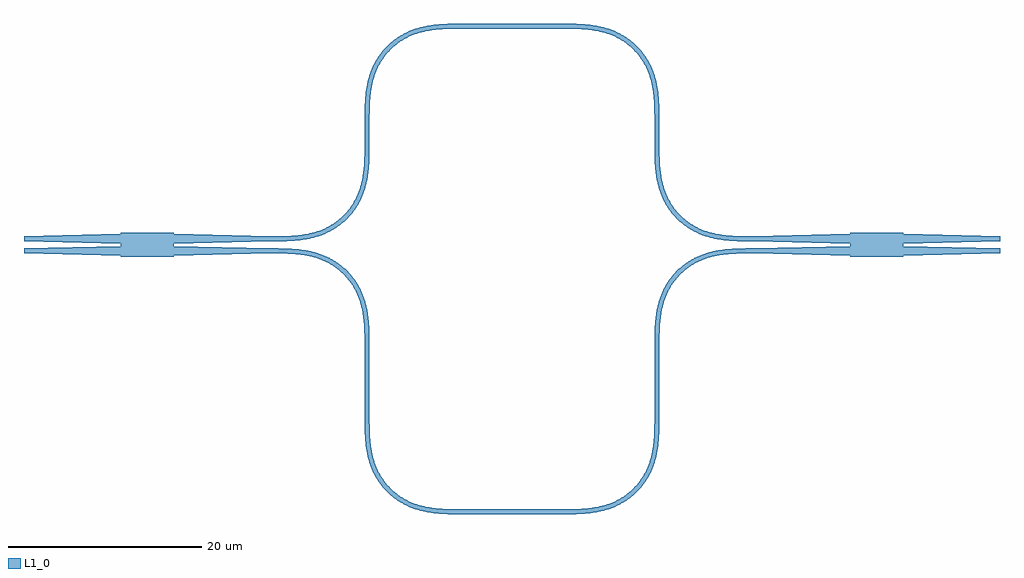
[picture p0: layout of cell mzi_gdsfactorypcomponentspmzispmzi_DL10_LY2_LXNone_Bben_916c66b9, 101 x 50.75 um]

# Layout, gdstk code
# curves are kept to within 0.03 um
from math import pi, radians
import gdstk
lib = gdstk.Library(unit=1e-6, precision=1e-09)
def R(c, l, rs):  # rectangles x0, y0, x1, y1
    for r in rs: c.add(gdstk.rectangle(r[:2], r[2:], *l))
def P(c, l, *ps):  # polygons
    for p in ps: c.add(gdstk.Polygon(p, *l))
L1_0 = (1, 0)

mmi2x2_gdsfactorypcompon = lib.new_cell('mmi2x2_gdsfactorypcomponentspmmispmmi2x2_WNone_WT1_LT10_d84946bc')
P(mmi2x2_gdsfactorypcompon, L1_0, [(0,-1.25),(0,-1.125),(-10,-0.875),(-10,-0.375),(0,-0.125),(0,0.125),(-10,0.375),(-10,0.875),(0,1.125),(0,1.25),(5.5,1.25),(5.5,1.125),(15.5,0.875),(15.5,0.375),(5.5,0.125),(5.5,-0.125),(15.5,-0.375),(15.5,-0.875),(5.5,-1.125),(5.5,-1.25)])

bend_euler_gdsfactorypco = lib.new_cell('bend_euler_gdsfactorypcomponentspbendspbend_euler_RNone_387600b2')
P(bend_euler_gdsfactorypco, L1_0, [(0,-0.25),(0,0.25),(1.655,0.269),(2.881,0.353),(3.952,0.52),(4.99,0.806),(5.731,1.113),(6.431,1.505),(7.079,1.976),(7.575,2.425),(8.024,2.921),(8.495,3.569),(8.887,4.269),(9.194,5.01),(9.48,6.048),(9.647,7.119),(9.731,8.345),(9.75,10),(10.25,10),(10.235,8.468),(10.158,7.205),(10.023,6.224),(9.797,5.254),(9.457,4.312),(9.066,3.545),(8.5,2.715),(7.928,2.072),(7.285,1.5),(6.455,0.934),(5.688,0.543),(4.746,0.203),(3.776,-0.023),(2.795,-0.158),(1.532,-0.235)])

straight_gdsfactorypcomp = lib.new_cell('straight_gdsfactorypcomponentspwaveguidespstraight_L2_N_815d3d03')
R(straight_gdsfactorypcomp, L1_0, [(0,-0.25,2,0.25)])

c_straight_gdsfactorypcomp = lib.new_cell('straight_gdsfactorypcomponentspwaveguidespstraight_L7_N_ecd9aecc')
R(c_straight_gdsfactorypcomp, L1_0, [(0,-0.25,7,0.25)])

c_straight_gdsfactorypcomp_ = lib.new_cell('straight_gdsfactorypcomponentspwaveguidespstraight_L10__f2286423')
R(c_straight_gdsfactorypcomp_, L1_0, [(0,-0.25,10,0.25)])

mzi_gdsfactorypcomponent = lib.new_cell('mzi_gdsfactorypcomponentspmzispmzi_DL10_LY2_LXNone_Bben_916c66b9')
mzi_gdsfactorypcomponent.add(gdstk.Reference(mmi2x2_gdsfactorypcompon, (0,0)))
mzi_gdsfactorypcomponent.add(gdstk.Reference(bend_euler_gdsfactorypco, (15.5,-0.625), x_reflection=True))
mzi_gdsfactorypcomponent.add(gdstk.Reference(bend_euler_gdsfactorypco, (25.5,-17.625), rotation=3*pi/2))
mzi_gdsfactorypcomponent.add(gdstk.Reference(bend_euler_gdsfactorypco, (15.5,0.625)))
mzi_gdsfactorypcomponent.add(gdstk.Reference(bend_euler_gdsfactorypco, (35.5,22.625), rotation=pi))
mzi_gdsfactorypcomponent.add(gdstk.Reference(bend_euler_gdsfactorypco, (55.5,12.625), rotation=pi/2))
mzi_gdsfactorypcomponent.add(gdstk.Reference(bend_euler_gdsfactorypco, (55.5,10.625), rotation=3*pi/2))
mzi_gdsfactorypcomponent.add(gdstk.Reference(bend_euler_gdsfactorypco, (45.5,-27.625)))
mzi_gdsfactorypcomponent.add(gdstk.Reference(bend_euler_gdsfactorypco, (65.5,-0.625), rotation=pi))
mzi_gdsfactorypcomponent.add(gdstk.Reference(straight_gdsfactorypcomp, (25.5,10.625), rotation=pi/2))
mzi_gdsfactorypcomponent.add(gdstk.Reference(c_straight_gdsfactorypcomp, (25.5,-10.625), rotation=3*pi/2))
mzi_gdsfactorypcomponent.add(gdstk.Reference(c_straight_gdsfactorypcomp_, (35.5,22.625)))
mzi_gdsfactorypcomponent.add(gdstk.Reference(c_straight_gdsfactorypcomp_, (35.5,-27.625)))
mzi_gdsfactorypcomponent.add(gdstk.Reference(mmi2x2_gdsfactorypcompon, (81,0), rotation=pi, x_reflection=True))
mzi_gdsfactorypcomponent.add(gdstk.Reference(straight_gdsfactorypcomp, (55.5,10.625), rotation=pi/2))
mzi_gdsfactorypcomponent.add(gdstk.Reference(c_straight_gdsfactorypcomp, (55.5,-17.625), rotation=pi/2))

lib.write_gds('mzi_gdsfactorypcomponentspmzispmzi_DL10_LY2_LXNone_Bben_916c66b9.gds')
